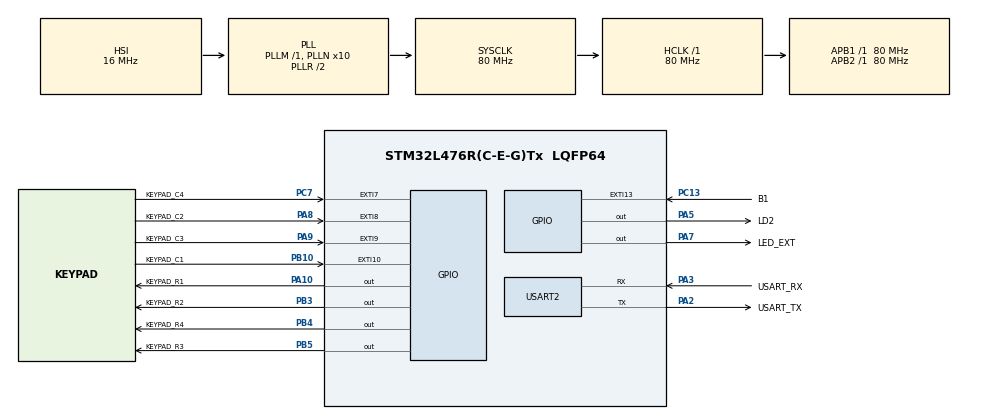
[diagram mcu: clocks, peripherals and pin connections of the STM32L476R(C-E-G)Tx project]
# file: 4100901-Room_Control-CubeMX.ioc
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Mcu.Family=STM32L4
Mcu.Name=STM32L476R(C-E-G)Tx
Mcu.Package=LQFP64
NVIC.EXTI15_10_IRQn=true\:0\:0\:false\:false\:true\:true\:true\:true
NVIC.EXTI9_5_IRQn=true\:0\:0\:false\:false\:true\:true\:true\:true
NVIC.PriorityGroup=NVIC_PRIORITYGROUP_4
NVIC.USART2_IRQn=true\:0\:0\:false\:false\:true\:true\:true\:true
PA10.GPIO_Label=KEYPAD_R1
PA10.Signal=GPIO_Output
PA13\ (JTMS-SWDIO).GPIO_Label=TMS
PA13\ (JTMS-SWDIO).Mode=Serial_Wire
PA13\ (JTMS-SWDIO).Signal=SYS_JTMS-SWDIO
PA14\ (JTCK-SWCLK).GPIO_Label=TCK
PA14\ (JTCK-SWCLK).Mode=Serial_Wire
PA14\ (JTCK-SWCLK).Signal=SYS_JTCK-SWCLK
PA2.GPIO_Label=USART_TX
PA2.GPIO_Mode=GPIO_MODE_AF_PP
PA2.GPIO_PuPd=GPIO_NOPULL
PA2.GPIO_Speed=GPIO_SPEED_FREQ_VERY_HIGH
PA2.Mode=Asynchronous
PA2.Signal=USART2_TX
PA3.GPIO_Label=USART_RX
PA3.GPIO_Mode=GPIO_MODE_AF_PP
PA3.GPIO_PuPd=GPIO_NOPULL
PA3.GPIO_Speed=GPIO_SPEED_FREQ_VERY_HIGH
PA3.Mode=Asynchronous
PA3.Signal=USART2_RX
PA5.GPIO_Label=LD2 
PA5.GPIO_ModeDefaultOutputPP=GPIO_MODE_OUTPUT_PP
PA5.GPIO_PuPd=GPIO_NOPULL
PA5.GPIO_Speed=GPIO_SPEED_FREQ_LOW
PA5.Signal=GPIO_Output
PA7.GPIO_Label=LED_EXT
PA7.Signal=GPIO_Output
PA8.GPIO_Label=KEYPAD_C2
PA8.GPIO_PuPd=GPIO_PULLUP
PA8.Signal=GPXTI8
PA9.GPIO_Label=KEYPAD_C3
PA9.GPIO_PuPd=GPIO_PULLUP
PA9.Signal=GPXTI9
PB10.GPIO_Label=KEYPAD_C1
PB10.GPIO_PuPd=GPIO_PULLUP
PB10.Signal=GPXTI10
PB3\ (JTDO-TRACESWO).GPIO_Label=KEYPAD_R2
PB3\ (JTDO-TRACESWO).Signal=GPIO_Output
PB4\ (NJTRST).GPIO_Label=KEYPAD_R4
PB4\ (NJTRST).Signal=GPIO_Output
PB5.GPIO_Label=KEYPAD_R3
PB5.Signal=GPIO_Output
PC13.GPIO_Label=B1
PC13.GPIO_ModeDefaultEXTI=GPIO_MODE_IT_FALLING
PC13.GPIO_PuPd=GPIO_NOPULL
PC13.Signal=GPXTI13
PC14-OSC32_IN\ (PC14).Mode=LSE-External-Oscillator
PC14-OSC32_IN\ (PC14).Signal=RCC_OSC32_IN
PC15-OSC32_OUT\ (PC15).Mode=LSE-External-Oscillator
PC15-OSC32_OUT\ (PC15).Signal=RCC_OSC32_OUT
PC7.GPIO_Label=KEYPAD_C4
PC7.GPIO_PuPd=GPIO_PULLUP
PC7.Signal=GPXTI7
PH0-OSC_IN\ (PH0).Signal=RCC_OSC_IN
PH1-OSC_OUT\ (PH1).Signal=RCC_OSC_OUT
ProjectManager.HeapSize=0x200
ProjectManager.StackSize=0x400
ProjectManager.TargetToolchain=CMake
RCC.ADCFreq_Value=64000000
RCC.AHBFreq_Value=80000000
RCC.APB1Freq_Value=80000000
RCC.APB1TimFreq_Value=80000000
RCC.APB2Freq_Value=80000000
RCC.APB2TimFreq_Value=80000000
RCC.CortexFreq_Value=80000000
RCC.HCLKFreq_Value=80000000
RCC.HSE_VALUE=8000000
RCC.HSI_VALUE=16000000
RCC.MSI_VALUE=4000000
RCC.PLLN=10
RCC.PLLSourceVirtual=RCC_PLLSOURCE_HSI
RCC.PREFETCH_ENABLE=1
RCC.SYSCLKFreq_VALUE=80000000
RCC.SYSCLKSource=RCC_SYSCLKSOURCE_PLLCLK
RCC.USBFreq_Value=64000000
RCC.VCOOutputFreq_Value=160000000
USART2.VirtualMode-Asynchronous=VM_ASYNC
board=NUCLEO-L476RG

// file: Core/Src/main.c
/* USER CODE BEGIN Header */
/**
  ******************************************************************************
  * @file           : main.c
  * @brief          : Main program body
  ******************************************************************************
  * @attention
  *
  * Copyright (c) 2025 STMicroelectronics.
  * All rights reserved.
  *
  * This software is licensed under terms that can be found in the LICENSE file
  * in the root directory of this software component.
  * If no LICENSE file comes with this software, it is provided AS-IS.
  *
  ******************************************************************************
  */
/* USER CODE END Header */
#include "main.h"

/* USER CODE BEGIN Includes */
// Control de LED, comunicación serial y teclado matricial con interrupciones
#include "led_driver.h"
#include "ring_buffer.h"
#include "keypad_driver.h"
#include "ring_buffer.h"
#include <stdio.h>
#include <string.h>
/* USER CODE END Includes */

UART_HandleTypeDef huart2;

/* USER CODE BEGIN PV */

// Último pin de EXTI que interrumpió (se usa fuera de la ISR para escanear el teclado)
volatile uint16_t last_exti_pin = 0;

// --- INICIO: Código para el Teclado Matricial ---

// 1.1. Definición del manejador del teclado (keypad handle)
// Asegúrate que los nombres de los puertos y pines coincidan con los de tu main.h
// Manejador del teclado: puertos y pines de filas/columnas según CubeMX
keypad_handle_t keypad = {
    .row_ports = {KEYPAD_R1_GPIO_Port, KEYPAD_R2_GPIO_Port, KEYPAD_R3_GPIO_Port, KEYPAD_R4_GPIO_Port},
    .row_pins = {KEYPAD_R1_Pin, KEYPAD_R2_Pin, KEYPAD_R3_Pin, KEYPAD_R4_Pin},
    .col_ports = {KEYPAD_C1_GPIO_Port, KEYPAD_C2_GPIO_Port, KEYPAD_C3_GPIO_Port, KEYPAD_C4_GPIO_Port},
    .col_pins = {KEYPAD_C1_Pin, KEYPAD_C2_Pin, KEYPAD_C3_Pin, KEYPAD_C4_Pin}
};

// 1.2. Buffer circular para almacenar las pulsaciones del teclado
// Buffer circular para teclas: almacena pulsaciones de forma asíncrona
#define KEYPAD_BUFFER_LEN 16
uint8_t keypad_buffer[KEYPAD_BUFFER_LEN];
ring_buffer_t keypad_rb;

// 1.3. Lógica para la clave
#define PASSWORD_LEN 4
const char PASSWORD[PASSWORD_LEN] = {'2', '2', '0', '4'}; // Clave secreta (ejemplo)
char input_buffer[PASSWORD_LEN];
uint8_t input_index = 0;

led_handle_t led1 = {
  .port = GPIOA,
  .pin = GPIO_PIN_5
};

#define UART2_RX_LEN 16
uint8_t uart2_rx_buffer[UART2_RX_LEN];
ring_buffer_t uart2_rx_rb;
uint8_t uart2_rx_data; // Variable to hold received data
/* USER CODE END PV */

void SystemClock_Config(void);
static void MX_GPIO_Init(void);
static void MX_USART2_UART_Init(void);

/* USER CODE BEGIN 0 */
void HAL_UART_RxCpltCallback(UART_HandleTypeDef *huart)
{
    if (huart->Instance == USART2) {
      HAL_UART_Receive_IT(&huart2, &uart2_rx_data, 1);
      ring_buffer_write(&uart2_rx_rb, uart2_rx_data);
    }
}

/* Implementación para redirigir printf/gets al UART */
int __io_putchar(int ch)
{
  uint8_t c = (uint8_t)ch;
  HAL_UART_Transmit(&huart2, &c, 1, HAL_MAX_DELAY);
  return ch;
}

int __io_getchar(void)
{
  uint8_t c = 0;
  if (HAL_UART_Receive(&huart2, &c, 1, HAL_MAX_DELAY) == HAL_OK) {
    return (int)c;
  }
  return -1;
}
/* USER CODE END 0 */

int main(void)
{

  /* MCU Configuration--------------------------------------------------------*/

  /* Reset of all peripherals, Initializes the Flash interface and the Systick. */
  HAL_Init();

  /* Configure the system clock */
  SystemClock_Config();

  /* Initialize all configured peripherals */
  MX_GPIO_Init();
  MX_USART2_UART_Init();
  /* USER CODE BEGIN 2 */
  led_init(&led1);

    // Inicialización del buffer circular para el teclado
  ring_buffer_init(&keypad_rb, keypad_buffer, KEYPAD_BUFFER_LEN);

  // Inicialización del driver del teclado (esto "arma" las interrupciones)
  keypad_init(&keypad);

  // Mensaje de bienvenida (requiere que printf esté redirigido a UART)
  printf("Sistema listo. Ingrese la clave de %d digitos...\r\n", PASSWORD_LEN);

  ring_buffer_init(&uart2_rx_rb, uart2_rx_buffer, UART2_RX_LEN);
  HAL_UART_Receive_IT(&huart2, &uart2_rx_data, 1);
  /* USER CODE END 2 */

  /* Infinite loop */
/* USER CODE BEGIN WHILE */
while (1)
{
    // --- 1. Procesar interrupciones pendientes del teclado ---
    if (last_exti_pin != 0)
    {
        // Escanear la tecla correspondiente fuera de la interrupción
        char key = keypad_scan(&keypad, last_exti_pin);

        // Limpiar bandera para siguiente evento
        last_exti_pin = 0;

        // Si se detectó una tecla válida, almacenarla en el buffer circular
        if (key != '\0')
        {
            ring_buffer_write(&keypad_rb, (uint8_t)key);
        }

        // Rehabilitar interrupciones del teclado después de procesar
        HAL_NVIC_EnableIRQ(EXTI9_5_IRQn);
        HAL_NVIC_EnableIRQ(EXTI15_10_IRQn);
    }

    // --- 2. Verificar si hay teclas en el buffer para procesar ---
    uint8_t key_from_buffer;

    if (ring_buffer_read(&keypad_rb, &key_from_buffer))
    {
        printf("Tecla presionada: %c\r\n", (char)key_from_buffer);

        // 3. Almacenar la tecla en el buffer de entrada
        if (input_index < PASSWORD_LEN)
        {
            input_buffer[input_index] = (char)key_from_buffer;
            input_index++;
        }

        // 4. Si ya se ingresaron los 4 dígitos, verificar la clave
        if (input_index == PASSWORD_LEN)
        {
            static uint8_t alarma_activada = 0; // 0 = OFF, 1 = ON

            if (strncmp(input_buffer, PASSWORD, PASSWORD_LEN) == 0)
            {
                // CLAVE CORRECTA: alternar estado de la alarma
                if (!alarma_activada)
                {
                    alarma_activada = 1;
                    printf("Clave CORRECTA. ALARMA ACTIVADA, LED ENCENDIDO.\r\n");
                    led_on(&led1); // Encender LED
                }
                else
                {
                    alarma_activada = 0;
                    printf("Clave CORRECTA. ALARMA DESACTIVADA, LED APAGADO.\r\n");
                    led_off(&led1); // Apagar LED
                }
            }
            else
            {
                // CLAVE INCORRECTA
                printf("Clave INCORRECTA. LED parpadea.\r\n");
                for (int i = 0; i < 3; i++)
                {
                    led_on(&led1);
                    HAL_Delay(150);
                    led_off(&led1);
                    HAL_Delay(150);
                }
            }

            // 5. Reiniciar el índice para la próxima clave
            input_index = 0;
            printf("\nIngrese la clave de %d dígitos...\r\n", PASSWORD_LEN);
        }
    }

    // --- 3. Aquí podrías agregar otras tareas no bloqueantes ---
}
/* USER CODE END WHILE */
}
void SystemClock_Config(void)
{
  RCC_OscInitTypeDef RCC_OscInitStruct = {0};
  RCC_ClkInitTypeDef RCC_ClkInitStruct = {0};

  /** Configure the main internal regulator output voltage
  */
  if (HAL_PWREx_ControlVoltageScaling(PWR_REGULATOR_VOLTAGE_SCALE1) != HAL_OK)
  {
    Error_Handler();
  }

  /** Initializes the RCC Oscillators according to the specified parameters
  * in the RCC_OscInitTypeDef structure.
  */
  RCC_OscInitStruct.OscillatorType = RCC_OSCILLATORTYPE_HSI;
  RCC_OscInitStruct.HSIState = RCC_HSI_ON;
  RCC_OscInitStruct.HSICalibrationValue = RCC_HSICALIBRATION_DEFAULT;
  RCC_OscInitStruct.PLL.PLLState = RCC_PLL_ON;
  RCC_OscInitStruct.PLL.PLLSource = RCC_PLLSOURCE_HSI;
  RCC_OscInitStruct.PLL.PLLM = 1;
  RCC_OscInitStruct.PLL.PLLN = 10;
  RCC_OscInitStruct.PLL.PLLP = RCC_PLLP_DIV7;
  RCC_OscInitStruct.PLL.PLLQ = RCC_PLLQ_DIV2;
  RCC_OscInitStruct.PLL.PLLR = RCC_PLLR_DIV2;
  if (HAL_RCC_OscConfig(&RCC_OscInitStruct) != HAL_OK)
  {
    Error_Handler();
  }

  /** Initializes the CPU, AHB and APB buses clocks
  */
  RCC_ClkInitStruct.ClockType = RCC_CLOCKTYPE_HCLK|RCC_CLOCKTYPE_SYSCLK
                              |RCC_CLOCKTYPE_PCLK1|RCC_CLOCKTYPE_PCLK2;
  RCC_ClkInitStruct.SYSCLKSource = RCC_SYSCLKSOURCE_PLLCLK;
  RCC_ClkInitStruct.AHBCLKDivider = RCC_SYSCLK_DIV1;
  RCC_ClkInitStruct.APB1CLKDivider = RCC_HCLK_DIV1;
  RCC_ClkInitStruct.APB2CLKDivider = RCC_HCLK_DIV1;

  if (HAL_RCC_ClockConfig(&RCC_ClkInitStruct, FLASH_LATENCY_4) != HAL_OK)
  {
    Error_Handler();
  }
}

static void MX_USART2_UART_Init(void)
{

  huart2.Instance = USART2;
  huart2.Init.BaudRate = 115200;
  huart2.Init.WordLength = UART_WORDLENGTH_8B;
  huart2.Init.StopBits = UART_STOPBITS_1;
  huart2.Init.Parity = UART_PARITY_NONE;
  huart2.Init.Mode = UART_MODE_TX_RX;
  huart2.Init.HwFlowCtl = UART_HWCONTROL_NONE;
  huart2.Init.OverSampling = UART_OVERSAMPLING_16;
  huart2.Init.OneBitSampling = UART_ONE_BIT_SAMPLE_DISABLE;
  huart2.AdvancedInit.AdvFeatureInit = UART_ADVFEATURE_NO_INIT;
  if (HAL_UART_Init(&huart2) != HAL_OK)
  {
    Error_Handler();
  }

}

static void MX_GPIO_Init(void)
{
  GPIO_InitTypeDef GPIO_InitStruct = {0};

  /* GPIO Ports Clock Enable */
  __HAL_RCC_GPIOC_CLK_ENABLE();
  __HAL_RCC_GPIOH_CLK_ENABLE();
  __HAL_RCC_GPIOA_CLK_ENABLE();
  __HAL_RCC_GPIOB_CLK_ENABLE();

  /*Configure GPIO pin Output Level */
  HAL_GPIO_WritePin(GPIOA, LD2_Pin|LED_EXT_Pin|KEYPAD_R1_Pin, GPIO_PIN_RESET);

  /*Configure GPIO pin Output Level */
  HAL_GPIO_WritePin(GPIOB, KEYPAD_R2_Pin|KEYPAD_R4_Pin|KEYPAD_R3_Pin, GPIO_PIN_RESET);

  /*Configure GPIO pin : B1_Pin */
  GPIO_InitStruct.Pin = B1_Pin;
  GPIO_InitStruct.Mode = GPIO_MODE_IT_FALLING;
  GPIO_InitStruct.Pull = GPIO_NOPULL;
  HAL_GPIO_Init(B1_GPIO_Port, &GPIO_InitStruct);

  /*Configure GPIO pins : LD2_Pin LED_EXT_Pin KEYPAD_R1_Pin */
  GPIO_InitStruct.Pin = LD2_Pin|LED_EXT_Pin|KEYPAD_R1_Pin;
  GPIO_InitStruct.Mode = GPIO_MODE_OUTPUT_PP;
  GPIO_InitStruct.Pull = GPIO_NOPULL;
  GPIO_InitStruct.Speed = GPIO_SPEED_FREQ_LOW;
  HAL_GPIO_Init(GPIOA, &GPIO_InitStruct);

  /*Configure GPIO pin : KEYPAD_C1_Pin */
  GPIO_InitStruct.Pin = KEYPAD_C1_Pin;
  GPIO_InitStruct.Mode = GPIO_MODE_IT_FALLING;
  GPIO_InitStruct.Pull = GPIO_PULLUP;
  HAL_GPIO_Init(KEYPAD_C1_GPIO_Port, &GPIO_InitStruct);

  /*Configure GPIO pin : KEYPAD_C4_Pin */
  GPIO_InitStruct.Pin = KEYPAD_C4_Pin;
  GPIO_InitStruct.Mode = GPIO_MODE_IT_FALLING;
  GPIO_InitStruct.Pull = GPIO_PULLUP;
  HAL_GPIO_Init(KEYPAD_C4_GPIO_Port, &GPIO_InitStruct);

  /*Configure GPIO pins : KEYPAD_C2_Pin KEYPAD_C3_Pin */
  GPIO_InitStruct.Pin = KEYPAD_C2_Pin|KEYPAD_C3_Pin;
  GPIO_InitStruct.Mode = GPIO_MODE_IT_FALLING;
  GPIO_InitStruct.Pull = GPIO_PULLUP;
  HAL_GPIO_Init(GPIOA, &GPIO_InitStruct);

  /*Configure GPIO pins : KEYPAD_R2_Pin KEYPAD_R4_Pin KEYPAD_R3_Pin */
  GPIO_InitStruct.Pin = KEYPAD_R2_Pin|KEYPAD_R4_Pin|KEYPAD_R3_Pin;
  GPIO_InitStruct.Mode = GPIO_MODE_OUTPUT_PP;
  GPIO_InitStruct.Pull = GPIO_NOPULL;
  GPIO_InitStruct.Speed = GPIO_SPEED_FREQ_LOW;
  HAL_GPIO_Init(GPIOB, &GPIO_InitStruct);

  /* EXTI interrupt init*/
  HAL_NVIC_SetPriority(EXTI9_5_IRQn, 0, 0);
  HAL_NVIC_EnableIRQ(EXTI9_5_IRQn);

  HAL_NVIC_SetPriority(EXTI15_10_IRQn, 0, 0);
  HAL_NVIC_EnableIRQ(EXTI15_10_IRQn);

}

/* USER CODE BEGIN 4 */

void HAL_GPIO_EXTI_Callback(uint16_t GPIO_Pin)
{
    // Enmascarar EXTI y registrar el pin que dispar\u00f3 la interrupci\u00f3n
    HAL_NVIC_DisableIRQ(EXTI9_5_IRQn);
    HAL_NVIC_DisableIRQ(EXTI15_10_IRQn);
    last_exti_pin = GPIO_Pin;
}
/* USER CODE END 4 */

void Error_Handler(void)
{
  __disable_irq();
  while (1)
  {
  }
}
